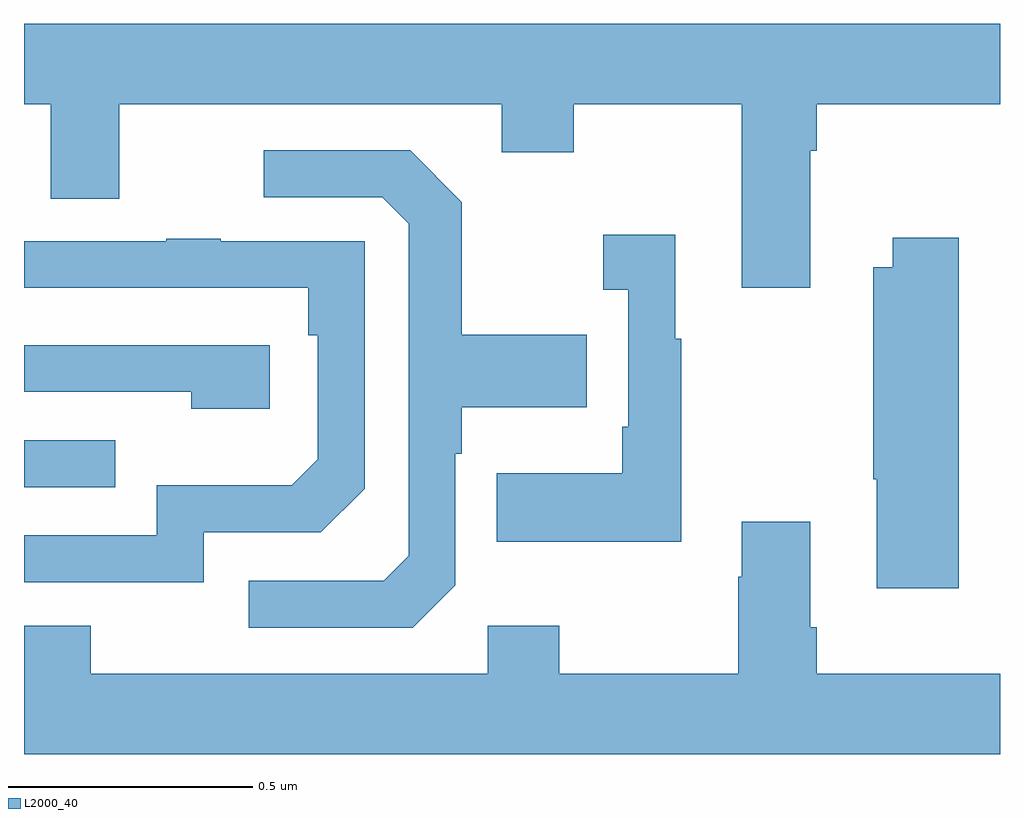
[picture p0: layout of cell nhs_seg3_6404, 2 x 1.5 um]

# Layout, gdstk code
import gdstk
lib = gdstk.Library(unit=1e-6, precision=1e-09)
def R(c, l, rs):  # rectangles x0, y0, x1, y1
    for r in rs: c.add(gdstk.rectangle(r[:2], r[2:], *l))
def P(c, l, *ps):  # polygons
    for p in ps: c.add(gdstk.Polygon(p, *l))
L2000_40 = (2000, 40)

nhs_seg3_6404 = lib.new_cell('nhs_seg3_6404')
R(nhs_seg3_6404, L2000_40, [(190,745.419,190.187,745.515)])
P(nhs_seg3_6404, L2000_40, [(191.611,746.108),(191.624,746.108),(191.624,746.204),(192,746.204),(192,746.368),(190,746.368),(190,746.204),(190.055,746.204),(190.055,746.01),(190.195,746.01),(190.195,746.204),(190.979,746.204),(190.979,746.105),(191.127,746.105),(191.127,746.204),(191.471,746.204),(191.471,745.827),(191.611,745.827)],
  [(190.884,745.218),(190.884,745.487),(190.897,745.487),(190.897,745.583),(191.153,745.583),(191.153,745.731),(190.897,745.731),(190.897,746.003),(190.791,746.109),(190.491,746.109),(190.491,746.013),(190.734,746.013),(190.788,745.959),(190.788,745.278),(190.737,745.227),(190.461,745.227),(190.461,745.131),(190.797,745.131)],
  [(191.347,745.723),(191.335,745.723),(191.335,745.936),(191.187,745.936),(191.187,745.823),(191.238,745.823),(191.238,745.543),(191.226,745.543),(191.226,745.447),(190.969,745.447),(190.969,745.307),(191.347,745.307)],
  [(191.915,745.93),(191.78,745.93),(191.78,745.87),(191.74,745.87),(191.74,745.435),(191.747,745.435),(191.747,745.212),(191.915,745.212)],
  [(190.368,745.326),(190.608,745.326),(190.698,745.416),(190.698,745.923),(190.403,745.923),(190.403,745.928),(190.291,745.928),(190.291,745.923),(190,745.923),(190,745.827),(190.582,745.827),(190.582,745.73),(190.602,745.73),(190.602,745.476),(190.549,745.423),(190.272,745.423),(190.272,745.32),(190,745.32),(190,745.224),(190.368,745.224)],
  [(190.504,745.71),(190,745.71),(190,745.614),(190.343,745.614),(190.343,745.58),(190.504,745.58)],
  [(192,745.036),(191.624,745.036),(191.624,745.132),(191.611,745.132),(191.611,745.348),(191.471,745.348),(191.471,745.235),(191.464,745.235),(191.464,745.036),(191.097,745.036),(191.097,745.135),(190.95,745.135),(190.95,745.036),(190.137,745.036),(190.137,745.135),(190,745.135),(190,744.872),(192,744.872)])

lib.write_gds('nhs_seg3_6404.gds')
